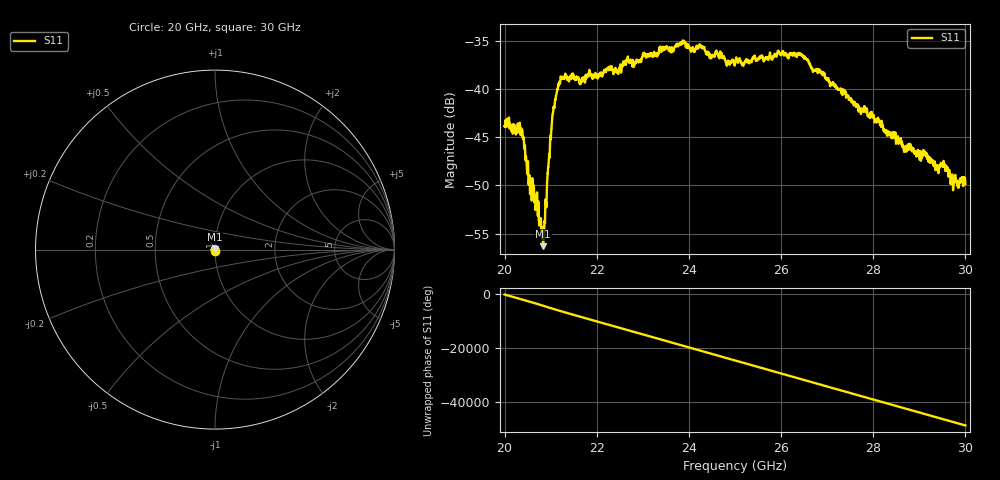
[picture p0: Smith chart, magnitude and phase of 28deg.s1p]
#  HZ  S  RI  R  50.00
! Rohde & Schwarz ZVA40 4Ports - Version 3.90 - 1145.1110k42 SN: 100403
! Date: 2023-10-03 11:46:22
! Measurement: S12
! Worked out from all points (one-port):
!   5001 points, 20 GHz to 30 GHz, reference 50 ohm
!   lowest |S11| = -56.3 dB at 20.83 GHz (marker M1), VSWR 1.00, Z = 50 + j0.151 ohm
!   |S11| at or under -10 dB: start of sweep to end of sweep
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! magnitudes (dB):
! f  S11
! 20 GHz  -43.8
! 20.37 GHz  -44.4
! 20.54 GHz  -49.1
! 20.66 GHz  -51.0
! 20.79 GHz  -54.3
! 20.83 GHz  -56.3
! 20.87 GHz  -53.7
! 20.98 GHz  -46.9
! 21.06 GHz  -42.3
! 21.17 GHz  -39.6
! 21.25 GHz  -38.9
! 21.67 GHz  -39.2
! 22.5 GHz  -37.8
! 22.64 GHz  -37.0
! 22.81 GHz  -37.3
! 23.75 GHz  -35.4
! 24.27 GHz  -35.6
! 24.49 GHz  -36.7
! 25 GHz  -37.4
! 26.25 GHz  -36.6
! 26.44 GHz  -36.5
! 27.5 GHz  -41.0
! 28.75 GHz  -45.8
! 29.12 GHz  -46.7
! 29.4 GHz  -48.0
! 29.53 GHz  -47.9
! 29.72 GHz  -48.9
! 30 GHz  -49.9
